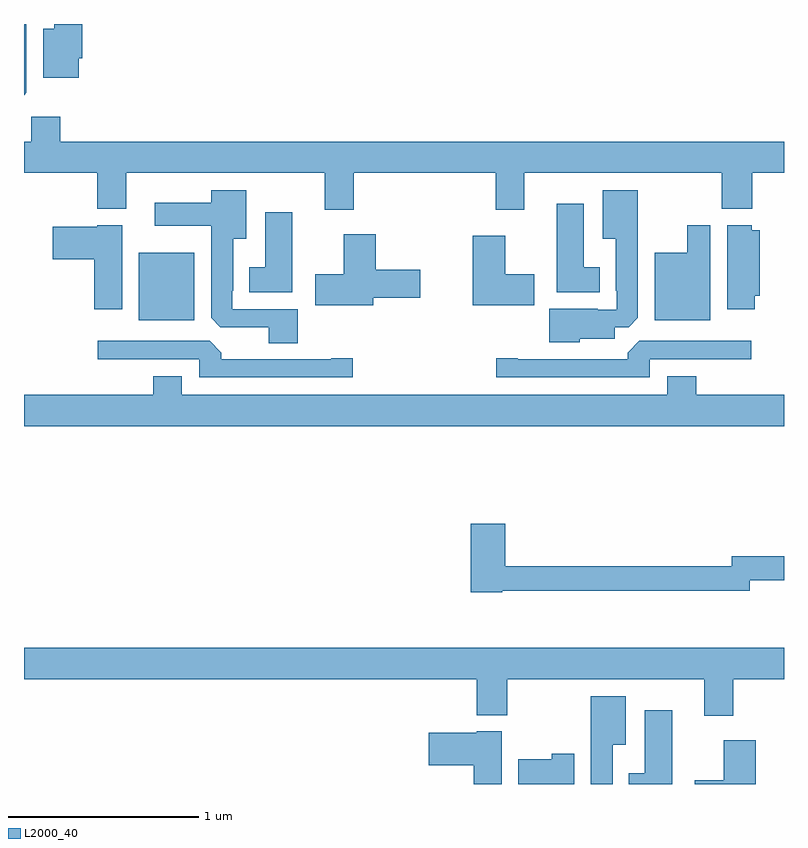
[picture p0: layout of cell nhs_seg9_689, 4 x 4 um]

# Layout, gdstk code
import gdstk
lib = gdstk.Library(unit=1e-6, precision=1e-09)
def R(c, l, rs):  # rectangles x0, y0, x1, y1
    for r in rs: c.add(gdstk.rectangle(r[:2], r[2:], *l))
def P(c, l, *ps):  # polygons
    for p in ps: c.add(gdstk.Polygon(p, *l))
L2000_40 = (2000, 40)

nhs_seg9_689 = lib.new_cell('nhs_seg9_689')
R(nhs_seg9_689, L2000_40, [(145.604,1232.942,145.897,1233.295)])
P(nhs_seg9_689, L2000_40, [(145.011,1234.137),(145.011,1234.5),(145,1234.5),(145,1234.126)],
  [(145.288,1234.321),(145.307,1234.321),(145.307,1234.5),(145.16,1234.5),(145.16,1234.474),(145.1,1234.474),(145.1,1234.217),(145.288,1234.217)],
  [(145.19,1234.012),(145.038,1234.012),(145.038,1233.88),(145,1233.88),(145,1233.716),(145.385,1233.716),(145.385,1233.527),(145.537,1233.527),(145.537,1233.716),(146.582,1233.716),(146.582,1233.522),(146.735,1233.522),(146.735,1233.716),(147.482,1233.716),(147.482,1233.522),(147.634,1233.522),(147.634,1233.716),(148.672,1233.716),(148.672,1233.527),(148.832,1233.527),(148.832,1233.716),(149,1233.716),(149,1233.88),(145.19,1233.88)],
  [(147.924,1232.843),(148.108,1232.843),(148.108,1232.904),(148.182,1232.904),(148.231,1232.953),(148.231,1233.625),(148.046,1233.625),(148.046,1233.371),(148.115,1233.371),(148.115,1233.097),(148.119,1233.097),(148.119,1232.997),(148.019,1232.997),(148.019,1233.001),(147.764,1233.001),(147.764,1232.825),(147.924,1232.825)],
  [(146.441,1233),(146.097,1233),(146.097,1233.097),(146.101,1233.097),(146.101,1233.371),(146.17,1233.371),(146.17,1233.625),(145.985,1233.625),(145.985,1233.559),(145.689,1233.559),(145.689,1233.437),(145.985,1233.437),(145.985,1232.953),(146.034,1232.904),(146.288,1232.904),(146.288,1232.821),(146.441,1232.821)],
  [(148.03,1233.22),(147.946,1233.22),(147.946,1233.553),(147.803,1233.553),(147.803,1233.089),(148.03,1233.089)],
  [(146.413,1233.508),(146.27,1233.508),(146.27,1233.22),(146.186,1233.22),(146.186,1233.089),(146.413,1233.089)],
  [(145.516,1233.442),(145.386,1233.442),(145.386,1233.433),(145.152,1233.433),(145.152,1233.263),(145.37,1233.263),(145.37,1233),(145.516,1233)],
  [(148.847,1233.071),(148.873,1233.071),(148.873,1233.415),(148.83,1233.415),(148.83,1233.442),(148.7,1233.442),(148.7,1233),(148.847,1233)],
  [(148.612,1233.442),(148.49,1233.442),(148.49,1233.295),(148.319,1233.295),(148.319,1232.942),(148.612,1232.942)],
  [(146.839,1233.059),(147.085,1233.059),(147.085,1233.206),(146.852,1233.206),(146.852,1233.394),(146.684,1233.394),(146.684,1233.183),(146.532,1233.183),(146.532,1233.02),(146.839,1233.02)],
  [(147.685,1233.183),(147.532,1233.183),(147.532,1233.385),(147.362,1233.385),(147.362,1233.02),(147.685,1233.02)],
  [(148.293,1232.736),(148.828,1232.736),(148.828,1232.832),(148.239,1232.832),(148.178,1232.77),(148.178,1232.736),(147.598,1232.736),(147.598,1232.741),(147.486,1232.741),(147.486,1232.64),(148.293,1232.64)],
  [(146.731,1232.741),(146.618,1232.741),(146.618,1232.736),(146.039,1232.736),(146.039,1232.77),(145.977,1232.832),(145.389,1232.832),(145.389,1232.736),(145.923,1232.736),(145.923,1232.64),(146.731,1232.64)],
  [(149,1232.548),(148.538,1232.548),(148.538,1232.647),(148.385,1232.647),(148.385,1232.548),(145.831,1232.548),(145.831,1232.647),(145.679,1232.647),(145.679,1232.548),(145,1232.548),(145,1232.384),(149,1232.384)],
  [(147.516,1231.518),(148.821,1231.518),(148.821,1231.572),(149,1231.572),(149,1231.7),(148.725,1231.7),(148.725,1231.646),(147.533,1231.646),(147.533,1231.87),(147.35,1231.87),(147.35,1231.51),(147.516,1231.51)],
  [(148.733,1231.052),(149,1231.052),(149,1231.216),(145,1231.216),(145,1231.052),(147.383,1231.052),(147.383,1230.863),(147.543,1230.863),(147.543,1231.052),(148.58,1231.052),(148.58,1230.858),(148.733,1230.858)],
  [(148.099,1230.707),(148.168,1230.707),(148.168,1230.961),(147.983,1230.961),(147.983,1230.5),(148.099,1230.5)],
  [(148.411,1230.889),(148.268,1230.889),(148.268,1230.556),(148.184,1230.556),(148.184,1230.5),(148.411,1230.5)],
  [(147.514,1230.778),(147.384,1230.778),(147.384,1230.769),(147.129,1230.769),(147.129,1230.599),(147.368,1230.599),(147.368,1230.5),(147.514,1230.5)],
  [(148.85,1230.73),(148.682,1230.73),(148.682,1230.519),(148.53,1230.519),(148.53,1230.5),(148.85,1230.5)],
  [(147.895,1230.658),(147.777,1230.658),(147.777,1230.631),(147.602,1230.631),(147.602,1230.5),(147.895,1230.5)])

lib.write_gds('nhs_seg9_689.gds')
